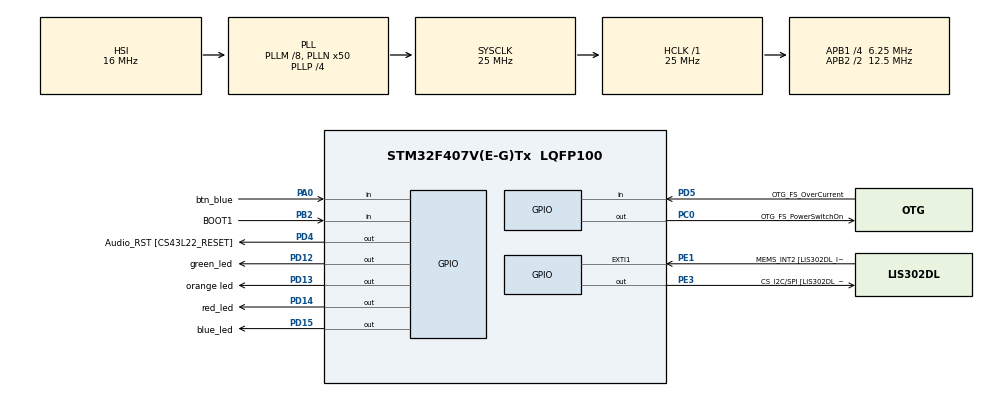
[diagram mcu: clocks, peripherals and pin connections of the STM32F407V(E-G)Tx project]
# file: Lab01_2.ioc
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Mcu.Family=STM32F4
Mcu.Name=STM32F407V(E-G)Tx
Mcu.Package=LQFP100
NVIC.PriorityGroup=NVIC_PRIORITYGROUP_4
NVIC.TIM7_IRQn=true\:0\:0\:false\:false\:true\:false\:true
NVIC.TimeBase=TIM7_IRQn
NVIC.TimeBaseIP=TIM7
PA0-WKUP.GPIO_Label=btn_blue
PA0-WKUP.Signal=GPIO_Input
PA10.GPIO_Label=OTG_FS_ID
PA10.GPIO_Mode=GPIO_MODE_AF_PP
PA10.GPIO_PuPd=GPIO_NOPULL
PA10.GPIO_Speed=GPIO_SPEED_FREQ_LOW
PA10.Signal=USB_OTG_FS_ID
PA11.GPIO_Label=OTG_FS_DM
PA11.GPIO_Mode=GPIO_MODE_AF_PP
PA11.GPIO_PuPd=GPIO_NOPULL
PA11.GPIO_Speed=GPIO_SPEED_FREQ_LOW
PA11.Signal=USB_OTG_FS_DM
PA12.GPIO_Label=OTG_FS_DP
PA12.GPIO_Mode=GPIO_MODE_AF_PP
PA12.GPIO_PuPd=GPIO_NOPULL
PA12.GPIO_Speed=GPIO_SPEED_FREQ_LOW
PA12.Signal=USB_OTG_FS_DP
PA13.GPIO_Label=SWDIO
PA13.Mode=Serial_Wire
PA13.Signal=SYS_JTMS-SWDIO
PA14.GPIO_Label=SWCLK
PA14.Mode=Serial_Wire
PA14.Signal=SYS_JTCK-SWCLK
PA4.GPIO_Label=I2S3_WS [CS43L22_LRCK]
PA4.GPIO_Mode=GPIO_MODE_AF_PP
PA4.GPIO_PuPd=GPIO_NOPULL
PA4.GPIO_Speed=GPIO_SPEED_FREQ_LOW
PA4.Signal=I2S3_WS
PA5.GPIO_Label=SPI1_SCK [LIS302DL_SCL/SPC]
PA5.GPIO_Mode=GPIO_MODE_AF_PP
PA5.GPIO_PuPd=GPIO_NOPULL
PA5.GPIO_Speed=GPIO_SPEED_FREQ_LOW
PA5.Signal=SPI1_SCK
PA6.GPIO_Label=SPI1_MISO [LIS302DL_SDO]
PA6.GPIO_Mode=GPIO_MODE_AF_PP
PA6.GPIO_PuPd=GPIO_NOPULL
PA6.GPIO_Speed=GPIO_SPEED_FREQ_LOW
PA6.Signal=SPI1_MISO
PA7.GPIO_Label=SPI1_MOSI [LIS302DL_SDA/SDI/SDO]
PA7.GPIO_Mode=GPIO_MODE_AF_PP
PA7.GPIO_PuPd=GPIO_NOPULL
PA7.GPIO_Speed=GPIO_SPEED_FREQ_LOW
PA7.Signal=SPI1_MOSI
PA9.GPIO_Label=VBUS_FS
PA9.GPIO_Mode=GPIO_MODE_INPUT
PA9.GPIO_PuPd=GPIO_NOPULL
PA9.Signal=USB_OTG_FS_VBUS
PB10.GPIO_Label=CLK_IN [MP45DT02_CLK]
PB10.GPIO_Mode=GPIO_MODE_AF_PP
PB10.GPIO_PuPd=GPIO_NOPULL
PB10.GPIO_Speed=GPIO_SPEED_FREQ_LOW
PB10.Signal=I2S2_CK
PB2.GPIO_Label=BOOT1
PB2.GPIO_Mode=GPIO_MODE_INPUT
PB2.GPIO_PuPd=GPIO_NOPULL
PB2.Signal=GPIO_Input
PB3.GPIO_Label=SWO
PB3.Signal=SYS_JTDO-SWO
PB6.GPIO_Label=Audio_SCL [CS43L22_SCL]
PB6.GPIO_Mode=GPIO_MODE_AF_OD
PB6.GPIO_PuPd=GPIO_NOPULL
PB6.GPIO_Speed=GPIO_SPEED_FREQ_LOW
PB6.Signal=I2C1_SCL
PB9.GPIO_Label=Audio_SDA [CS43L22_SDA]
PB9.GPIO_Mode=GPIO_MODE_AF_OD
PB9.GPIO_PuPd=GPIO_NOPULL
PB9.GPIO_Speed=GPIO_SPEED_FREQ_LOW
PB9.Signal=I2C1_SDA
PC0.GPIO_Label=OTG_FS_PowerSwitchOn
PC0.GPIO_PuPd=GPIO_NOPULL
PC0.GPIO_Speed=GPIO_SPEED_FREQ_LOW
PC0.PinState=GPIO_PIN_SET
PC0.Signal=GPIO_Output
PC10.GPIO_Label=I2S3_SCK [CS43L22_SCLK]
PC10.GPIO_Mode=GPIO_MODE_AF_PP
PC10.GPIO_PuPd=GPIO_NOPULL
PC10.GPIO_Speed=GPIO_SPEED_FREQ_LOW
PC10.Signal=I2S3_CK
PC12.GPIO_Label=I2S3_SD [CS43L22_SDIN]
PC12.GPIO_Mode=GPIO_MODE_AF_PP
PC12.GPIO_PuPd=GPIO_NOPULL
PC12.GPIO_Speed=GPIO_SPEED_FREQ_LOW
PC12.Signal=I2S3_SD
PC14-OSC32_IN.GPIO_Label=PC14-OSC32_IN
PC14-OSC32_IN.Signal=RCC_OSC32_IN
PC15-OSC32_OUT.GPIO_Label=PC15-OSC32_OUT
PC15-OSC32_OUT.Signal=RCC_OSC32_OUT
PC3.GPIO_Label=PDM_OUT [MP45DT02_DOUT]
PC3.GPIO_Mode=GPIO_MODE_AF_PP
PC3.GPIO_PuPd=GPIO_NOPULL
PC3.GPIO_Speed=GPIO_SPEED_FREQ_LOW
PC3.Signal=I2S2_SD
PC7.GPIO_Label=I2S3_MCK [CS43L22_MCLK]
PC7.GPIO_Mode=GPIO_MODE_AF_PP
PC7.GPIO_PuPd=GPIO_NOPULL
PC7.GPIO_Speed=GPIO_SPEED_FREQ_LOW
PC7.Signal=I2S3_MCK
PD12.GPIO_Label=green_led
PD12.GPIO_PuPd=GPIO_NOPULL
PD12.GPIO_Speed=GPIO_SPEED_FREQ_LOW
PD12.Signal=GPIO_Output
PD13.GPIO_Label=orange led
PD13.GPIO_PuPd=GPIO_NOPULL
PD13.GPIO_Speed=GPIO_SPEED_FREQ_LOW
PD13.Signal=GPIO_Output
PD14.GPIO_Label=red_led
PD14.GPIO_PuPd=GPIO_NOPULL
PD14.GPIO_Speed=GPIO_SPEED_FREQ_LOW
PD14.Signal=GPIO_Output
PD15.GPIO_Label=blue_led
PD15.GPIO_PuPd=GPIO_NOPULL
PD15.GPIO_Speed=GPIO_SPEED_FREQ_LOW
PD15.Signal=GPIO_Output
PD4.GPIO_Label=Audio_RST [CS43L22_RESET]
PD4.GPIO_PuPd=GPIO_NOPULL
PD4.GPIO_Speed=GPIO_SPEED_FREQ_LOW
PD4.Signal=GPIO_Output
PD5.GPIO_Label=OTG_FS_OverCurrent
PD5.GPIO_Mode=GPIO_MODE_INPUT
PD5.GPIO_PuPd=GPIO_NOPULL
PD5.Signal=GPIO_Input
PE1.GPIO_Label=MEMS_INT2 [LIS302DL_INT2]
PE1.GPIO_ModeDefaultEXTI=GPIO_MODE_EVT_RISING
PE1.GPIO_PuPd=GPIO_NOPULL
PE1.Signal=GPXTI1
PE3.GPIO_Label=CS_I2C/SPI [LIS302DL_CS_I2C/SPI]
PE3.GPIO_PuPd=GPIO_NOPULL
PE3.GPIO_Speed=GPIO_SPEED_FREQ_LOW
PE3.Signal=GPIO_Output
PH0-OSC_IN.GPIO_Label=PH0-OSC_IN
PH0-OSC_IN.Signal=RCC_OSC_IN
PH1-OSC_OUT.GPIO_Label=PH1-OSC_OUT
PH1-OSC_OUT.Signal=RCC_OSC_OUT
ProjectManager.HeapSize=0x200
ProjectManager.StackSize=0x400
ProjectManager.TargetToolchain=STM32CubeIDE
RCC.48MHZClocksFreq_Value=14285714.285714285
RCC.AHBFreq_Value=25000000
RCC.APB1CLKDivider=RCC_HCLK_DIV4
RCC.APB1Freq_Value=6250000
RCC.APB1TimFreq_Value=12500000
RCC.APB2CLKDivider=RCC_HCLK_DIV2
RCC.APB2Freq_Value=12500000
RCC.APB2TimFreq_Value=25000000
RCC.CortexFreq_Value=25000000
RCC.HCLKFreq_Value=25000000
RCC.HSE_VALUE=8000000
RCC.HSI_VALUE=16000000
RCC.LSE_VALUE=32768
RCC.PLLM=8
RCC.PLLN=50
RCC.PLLP=RCC_PLLP_DIV4
RCC.PLLQ=7
RCC.SYSCLKFreq_VALUE=25000000
RCC.SYSCLKSource=RCC_SYSCLKSOURCE_PLLCLK
RCC.VCOOutputFreq_Value=100000000
VP_SYS_VS_tim7.Mode=TIM7
board=STM32F407G-DISC1

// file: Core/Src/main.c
/* USER CODE BEGIN Header */
/**
  ******************************************************************************
  * @file           : main.c
  * @brief          : Main program body
  ******************************************************************************
  * @attention
  *
  * Copyright (c) 2022 STMicroelectronics.
  * All rights reserved.
  *
  * This software is licensed under terms that can be found in the LICENSE file
  * in the root directory of this software component.
  * If no LICENSE file comes with this software, it is provided AS-IS.
  *
  ******************************************************************************
  */
/* USER CODE END Header */
#include "main.h"
#include "stdio.h"
#include "stdlib.h"
#include "FreeRTOS.h"
#include "task.h"
#include "queue.h"

void SystemClock_Config(void);
static void MX_GPIO_Init(void);

/* USER CODE BEGIN 0 */

// LED Function
QueueHandle_t xQueue1;
TaskHandle_t xHandle=NULL;
TaskHandle_t yHandle=NULL;
int btn_state = 0; //0 for release 1 for push
int btn_state_last = 0; //0 for release 1 for push
unsigned long signal=0;
unsigned long receive=0;
void LED_Task (void)
{
	HAL_GPIO_WritePin(GPIOD, GPIO_PIN_12 | GPIO_PIN_13 | GPIO_PIN_14 | GPIO_PIN_15, GPIO_PIN_RESET);

	xQueue1 = xQueueCreate(10,sizeof(unsigned long));

	for(;;)
	{
		while(pdPASS)
		{
			HAL_GPIO_WritePin(orange_led_GPIO_Port,orange_led_Pin,GPIO_PIN_SET);
			if (xQueueReceive(xQueue1,&(receive),(TickType_t) pdMS_TO_TICKS(1000)))
			{HAL_GPIO_WritePin(orange_led_GPIO_Port,orange_led_Pin,GPIO_PIN_RESET);break;}//LED_Task block
			HAL_GPIO_WritePin(orange_led_GPIO_Port,orange_led_Pin,GPIO_PIN_RESET);
			if (xQueueReceive(xQueue1,&(receive),(TickType_t) pdMS_TO_TICKS(1000))){break;}//LED_Task block

		}
		while(pdPASS)
		{
			HAL_GPIO_WritePin(orange_led_GPIO_Port,orange_led_Pin,GPIO_PIN_RESET);
			HAL_GPIO_WritePin(green_led_GPIO_Port,green_led_Pin,GPIO_PIN_SET);
			if (xQueueReceive(xQueue1,&(receive),(TickType_t) pdMS_TO_TICKS(2000)))
			{HAL_GPIO_WritePin(green_led_GPIO_Port,green_led_Pin,GPIO_PIN_RESET);break;}//LED_Task block
			HAL_GPIO_WritePin(green_led_GPIO_Port,green_led_Pin,GPIO_PIN_RESET);
			HAL_GPIO_WritePin(red_led_GPIO_Port,red_led_Pin,GPIO_PIN_SET);
			if (xQueueReceive(xQueue1,&(receive),(TickType_t) pdMS_TO_TICKS(2000)))
			{HAL_GPIO_WritePin(red_led_GPIO_Port,red_led_Pin,GPIO_PIN_RESET);break;}//LED_Task block
			HAL_GPIO_WritePin(red_led_GPIO_Port,red_led_Pin,GPIO_PIN_RESET);
		}

	}
}

// Button Function
void BTN_Task (void )
{
	for (;;)//要記得寫for迴圈
	{
		if (HAL_GPIO_ReadPin(btn_blue_GPIO_Port,btn_blue_Pin))
			{
				vTaskDelay(30);
				if (HAL_GPIO_ReadPin(btn_blue_GPIO_Port,btn_blue_Pin))
				{
					btn_state_last = btn_state;
					btn_state = 1;

				}
			}
		else
		{
			vTaskDelay(30);
			if (!(HAL_GPIO_ReadPin(btn_blue_GPIO_Port,btn_blue_Pin)))
			{
				btn_state_last = btn_state;
				btn_state = 0;
			}
		}
		if (btn_state == 0 && btn_state_last==1)
		{
			xQueueSend(xQueue1,(void*)&signal,(TickType_t) 10);
		}
	}
}
/* USER CODE END 0 */

int main(void)
{

  /* MCU Configuration--------------------------------------------------------*/

  /* Reset of all peripherals, Initializes the Flash interface and the Systick. */
  HAL_Init();

  /* Configure the system clock */
  SystemClock_Config();

  /* Initialize all configured peripherals */
  MX_GPIO_Init();
  /* USER CODE BEGIN 2 */

  xTaskCreate(
  		  LED_Task,
  		  "LED_Task",
  		  128,
  		  NULL,
  		  1,
		  &xHandle);
  xTaskCreate(
		BTN_Task,
		"BTN_Task",
		128,
		NULL,
		1,
		&yHandle);
  vTaskStartScheduler();
  /* USER CODE END 2 */

  /* Infinite loop */
  while (1)
  {

  }
}

void SystemClock_Config(void)
{
  RCC_OscInitTypeDef RCC_OscInitStruct = {0};
  RCC_ClkInitTypeDef RCC_ClkInitStruct = {0};

  /** Configure the main internal regulator output voltage
  */
  __HAL_RCC_PWR_CLK_ENABLE();
  __HAL_PWR_VOLTAGESCALING_CONFIG(PWR_REGULATOR_VOLTAGE_SCALE1);
  /** Initializes the RCC Oscillators according to the specified parameters
  * in the RCC_OscInitTypeDef structure.
  */
  RCC_OscInitStruct.OscillatorType = RCC_OSCILLATORTYPE_HSI;
  RCC_OscInitStruct.HSIState = RCC_HSI_ON;
  RCC_OscInitStruct.HSICalibrationValue = RCC_HSICALIBRATION_DEFAULT;
  RCC_OscInitStruct.PLL.PLLState = RCC_PLL_ON;
  RCC_OscInitStruct.PLL.PLLSource = RCC_PLLSOURCE_HSI;
  RCC_OscInitStruct.PLL.PLLM = 8;
  RCC_OscInitStruct.PLL.PLLN = 50;
  RCC_OscInitStruct.PLL.PLLP = RCC_PLLP_DIV4;
  RCC_OscInitStruct.PLL.PLLQ = 7;
  if (HAL_RCC_OscConfig(&RCC_OscInitStruct) != HAL_OK)
  {
    Error_Handler();
  }
  /** Initializes the CPU, AHB and APB buses clocks
  */
  RCC_ClkInitStruct.ClockType = RCC_CLOCKTYPE_HCLK|RCC_CLOCKTYPE_SYSCLK
                              |RCC_CLOCKTYPE_PCLK1|RCC_CLOCKTYPE_PCLK2;
  RCC_ClkInitStruct.SYSCLKSource = RCC_SYSCLKSOURCE_PLLCLK;
  RCC_ClkInitStruct.AHBCLKDivider = RCC_SYSCLK_DIV1;
  RCC_ClkInitStruct.APB1CLKDivider = RCC_HCLK_DIV4;
  RCC_ClkInitStruct.APB2CLKDivider = RCC_HCLK_DIV2;

  if (HAL_RCC_ClockConfig(&RCC_ClkInitStruct, FLASH_LATENCY_0) != HAL_OK)
  {
    Error_Handler();
  }
}

static void MX_GPIO_Init(void)
{
  GPIO_InitTypeDef GPIO_InitStruct = {0};

  /* GPIO Ports Clock Enable */
  __HAL_RCC_GPIOE_CLK_ENABLE();
  __HAL_RCC_GPIOC_CLK_ENABLE();
  __HAL_RCC_GPIOH_CLK_ENABLE();
  __HAL_RCC_GPIOA_CLK_ENABLE();
  __HAL_RCC_GPIOB_CLK_ENABLE();
  __HAL_RCC_GPIOD_CLK_ENABLE();

  /*Configure GPIO pin Output Level */
  HAL_GPIO_WritePin(CS_I2C_SPI_GPIO_Port, CS_I2C_SPI_Pin, GPIO_PIN_RESET);

  /*Configure GPIO pin Output Level */
  HAL_GPIO_WritePin(OTG_FS_PowerSwitchOn_GPIO_Port, OTG_FS_PowerSwitchOn_Pin, GPIO_PIN_SET);

  /*Configure GPIO pin Output Level */
  HAL_GPIO_WritePin(GPIOD, green_led_Pin|orange_led_Pin|red_led_Pin|blue_led_Pin
                          |Audio_RST_Pin, GPIO_PIN_RESET);

  /*Configure GPIO pin : CS_I2C_SPI_Pin */
  GPIO_InitStruct.Pin = CS_I2C_SPI_Pin;
  GPIO_InitStruct.Mode = GPIO_MODE_OUTPUT_PP;
  GPIO_InitStruct.Pull = GPIO_NOPULL;
  GPIO_InitStruct.Speed = GPIO_SPEED_FREQ_LOW;
  HAL_GPIO_Init(CS_I2C_SPI_GPIO_Port, &GPIO_InitStruct);

  /*Configure GPIO pin : OTG_FS_PowerSwitchOn_Pin */
  GPIO_InitStruct.Pin = OTG_FS_PowerSwitchOn_Pin;
  GPIO_InitStruct.Mode = GPIO_MODE_OUTPUT_PP;
  GPIO_InitStruct.Pull = GPIO_NOPULL;
  GPIO_InitStruct.Speed = GPIO_SPEED_FREQ_LOW;
  HAL_GPIO_Init(OTG_FS_PowerSwitchOn_GPIO_Port, &GPIO_InitStruct);

  /*Configure GPIO pin : PDM_OUT_Pin */
  GPIO_InitStruct.Pin = PDM_OUT_Pin;
  GPIO_InitStruct.Mode = GPIO_MODE_AF_PP;
  GPIO_InitStruct.Pull = GPIO_NOPULL;
  GPIO_InitStruct.Speed = GPIO_SPEED_FREQ_LOW;
  GPIO_InitStruct.Alternate = GPIO_AF5_SPI2;
  HAL_GPIO_Init(PDM_OUT_GPIO_Port, &GPIO_InitStruct);

  /*Configure GPIO pin : btn_blue_Pin */
  GPIO_InitStruct.Pin = btn_blue_Pin;
  GPIO_InitStruct.Mode = GPIO_MODE_INPUT;
  GPIO_InitStruct.Pull = GPIO_NOPULL;
  HAL_GPIO_Init(btn_blue_GPIO_Port, &GPIO_InitStruct);

  /*Configure GPIO pin : I2S3_WS_Pin */
  GPIO_InitStruct.Pin = I2S3_WS_Pin;
  GPIO_InitStruct.Mode = GPIO_MODE_AF_PP;
  GPIO_InitStruct.Pull = GPIO_NOPULL;
  GPIO_InitStruct.Speed = GPIO_SPEED_FREQ_LOW;
  GPIO_InitStruct.Alternate = GPIO_AF6_SPI3;
  HAL_GPIO_Init(I2S3_WS_GPIO_Port, &GPIO_InitStruct);

  /*Configure GPIO pins : SPI1_SCK_Pin SPI1_MISO_Pin SPI1_MOSI_Pin */
  GPIO_InitStruct.Pin = SPI1_SCK_Pin|SPI1_MISO_Pin|SPI1_MOSI_Pin;
  GPIO_InitStruct.Mode = GPIO_MODE_AF_PP;
  GPIO_InitStruct.Pull = GPIO_NOPULL;
  GPIO_InitStruct.Speed = GPIO_SPEED_FREQ_LOW;
  GPIO_InitStruct.Alternate = GPIO_AF5_SPI1;
  HAL_GPIO_Init(GPIOA, &GPIO_InitStruct);

  /*Configure GPIO pin : BOOT1_Pin */
  GPIO_InitStruct.Pin = BOOT1_Pin;
  GPIO_InitStruct.Mode = GPIO_MODE_INPUT;
  GPIO_InitStruct.Pull = GPIO_NOPULL;
  HAL_GPIO_Init(BOOT1_GPIO_Port, &GPIO_InitStruct);

  /*Configure GPIO pin : CLK_IN_Pin */
  GPIO_InitStruct.Pin = CLK_IN_Pin;
  GPIO_InitStruct.Mode = GPIO_MODE_AF_PP;
  GPIO_InitStruct.Pull = GPIO_NOPULL;
  GPIO_InitStruct.Speed = GPIO_SPEED_FREQ_LOW;
  GPIO_InitStruct.Alternate = GPIO_AF5_SPI2;
  HAL_GPIO_Init(CLK_IN_GPIO_Port, &GPIO_InitStruct);

  /*Configure GPIO pins : green_led_Pin orange_led_Pin red_led_Pin blue_led_Pin
                           Audio_RST_Pin */
  GPIO_InitStruct.Pin = green_led_Pin|orange_led_Pin|red_led_Pin|blue_led_Pin
                          |Audio_RST_Pin;
  GPIO_InitStruct.Mode = GPIO_MODE_OUTPUT_PP;
  GPIO_InitStruct.Pull = GPIO_NOPULL;
  GPIO_InitStruct.Speed = GPIO_SPEED_FREQ_LOW;
  HAL_GPIO_Init(GPIOD, &GPIO_InitStruct);

  /*Configure GPIO pins : I2S3_MCK_Pin I2S3_SCK_Pin I2S3_SD_Pin */
  GPIO_InitStruct.Pin = I2S3_MCK_Pin|I2S3_SCK_Pin|I2S3_SD_Pin;
  GPIO_InitStruct.Mode = GPIO_MODE_AF_PP;
  GPIO_InitStruct.Pull = GPIO_NOPULL;
  GPIO_InitStruct.Speed = GPIO_SPEED_FREQ_LOW;
  GPIO_InitStruct.Alternate = GPIO_AF6_SPI3;
  HAL_GPIO_Init(GPIOC, &GPIO_InitStruct);

  /*Configure GPIO pin : VBUS_FS_Pin */
  GPIO_InitStruct.Pin = VBUS_FS_Pin;
  GPIO_InitStruct.Mode = GPIO_MODE_INPUT;
  GPIO_InitStruct.Pull = GPIO_NOPULL;
  HAL_GPIO_Init(VBUS_FS_GPIO_Port, &GPIO_InitStruct);

  /*Configure GPIO pins : OTG_FS_ID_Pin OTG_FS_DM_Pin OTG_FS_DP_Pin */
  GPIO_InitStruct.Pin = OTG_FS_ID_Pin|OTG_FS_DM_Pin|OTG_FS_DP_Pin;
  GPIO_InitStruct.Mode = GPIO_MODE_AF_PP;
  GPIO_InitStruct.Pull = GPIO_NOPULL;
  GPIO_InitStruct.Speed = GPIO_SPEED_FREQ_LOW;
  GPIO_InitStruct.Alternate = GPIO_AF10_OTG_FS;
  HAL_GPIO_Init(GPIOA, &GPIO_InitStruct);

  /*Configure GPIO pin : OTG_FS_OverCurrent_Pin */
  GPIO_InitStruct.Pin = OTG_FS_OverCurrent_Pin;
  GPIO_InitStruct.Mode = GPIO_MODE_INPUT;
  GPIO_InitStruct.Pull = GPIO_NOPULL;
  HAL_GPIO_Init(OTG_FS_OverCurrent_GPIO_Port, &GPIO_InitStruct);

  /*Configure GPIO pins : Audio_SCL_Pin Audio_SDA_Pin */
  GPIO_InitStruct.Pin = Audio_SCL_Pin|Audio_SDA_Pin;
  GPIO_InitStruct.Mode = GPIO_MODE_AF_OD;
  GPIO_InitStruct.Pull = GPIO_NOPULL;
  GPIO_InitStruct.Speed = GPIO_SPEED_FREQ_LOW;
  GPIO_InitStruct.Alternate = GPIO_AF4_I2C1;
  HAL_GPIO_Init(GPIOB, &GPIO_InitStruct);

  /*Configure GPIO pin : MEMS_INT2_Pin */
  GPIO_InitStruct.Pin = MEMS_INT2_Pin;
  GPIO_InitStruct.Mode = GPIO_MODE_EVT_RISING;
  GPIO_InitStruct.Pull = GPIO_NOPULL;
  HAL_GPIO_Init(MEMS_INT2_GPIO_Port, &GPIO_InitStruct);

}

void HAL_TIM_PeriodElapsedCallback(TIM_HandleTypeDef *htim)
{
  if (htim->Instance == TIM7) {
    HAL_IncTick();
  }
}

void Error_Handler(void)
{
  __disable_irq();
  while (1)
  {
  }
}
